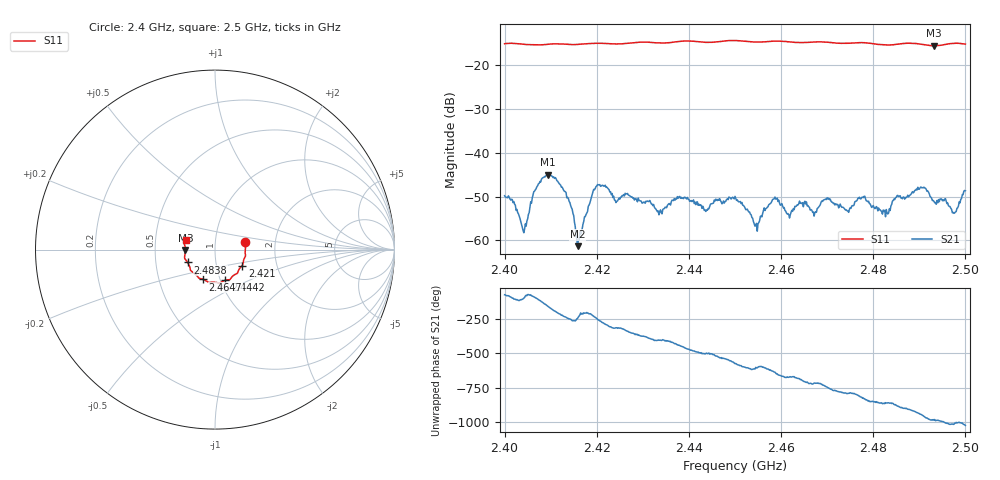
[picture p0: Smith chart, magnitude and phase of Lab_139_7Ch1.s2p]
# Hz S RI R 50
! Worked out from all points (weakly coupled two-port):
!   601 points, 2.4 GHz to 2.5 GHz, reference 50 ohm
!   highest |S21| = -45.02 dB at 2.4093 GHz (marker M1); lowest = -61.3 dB at 2.4158 GHz (marker M2)
!   lowest |S11| = -15.7 dB at 2.4932 GHz (marker M3), VSWR 1.39, Z = 35.8 - j0.107 ohm
!   |S11| at or under -10 dB: start of sweep to end of sweep
!   S12 and S22 are empty: the file has one direction only
!   S11 on the Smith chart (normalised r, x): 2.4 GHz: 1.40, +0.12; 2.421 GHz: 1.33, -0.24; 2.4442 GHz: 1.05, -0.37; 2.4647 GHz: 0.83, -0.28; 2.4838 GHz: 0.73, -0.11; 2.5 GHz: 0.71, +0.08
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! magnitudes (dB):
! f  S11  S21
! 2.4 GHz  -15.2  -49.8
! 2.4042 GHz  -15.3  -58.3
! 2.4093 GHz  -15.3  -45.0
! 2.4135 GHz  -15.3  -50.3
! 2.4158 GHz  -15.4  -61.3
! 2.4167 GHz  -15.3  -58.1
! 2.421 GHz  -15.1  -47.6
! 2.4333 GHz  -15.0  -53.3
! 2.4442 GHz  -14.9  -52.7
! 2.45 GHz  -14.5  -50.0
! 2.4547 GHz  -14.8  -56.1
! 2.4587 GHz  -14.6  -50.1
! 2.4617 GHz  -14.8  -54.1
! 2.4647 GHz  -14.9  -51.4
! 2.4667 GHz  -14.8  -53.1
! 2.4777 GHz  -14.9  -50.2
! 2.4833 GHz  -15.5  -53.8
! 2.4838 GHz  -15.5  -52.2
! 2.4907 GHz  -15.4  -48.0
! 2.4932 GHz  -15.7  -51.1
! 2.4977 GHz  -15.1  -53.8
! 2.5 GHz  -15.3  -48.7
